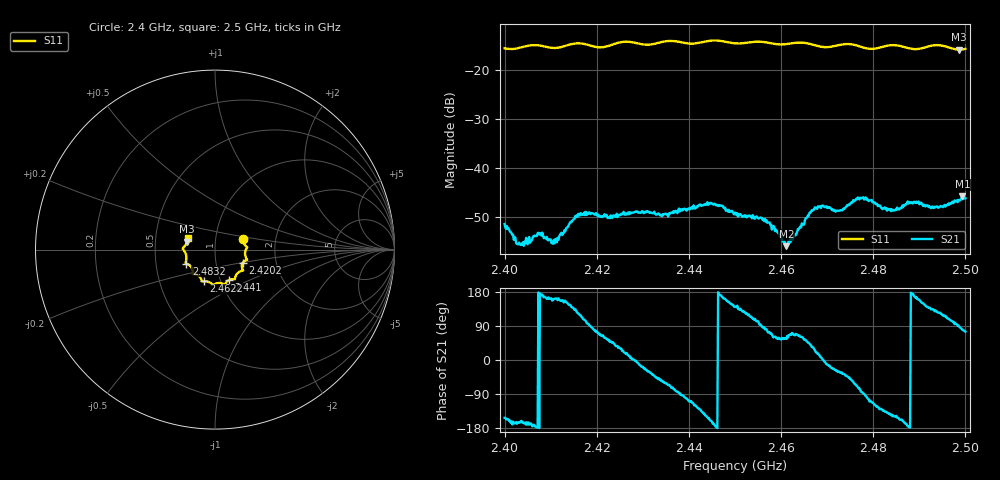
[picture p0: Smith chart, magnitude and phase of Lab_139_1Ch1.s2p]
# Hz S RI R 50
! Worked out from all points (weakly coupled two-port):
!   601 points, 2.4 GHz to 2.5 GHz, reference 50 ohm
!   highest |S21| = -45.80 dB at 2.4993 GHz (marker M1); lowest = -56.0 dB at 2.4612 GHz (marker M2)
!   lowest |S11| = -15.8 dB at 2.4987 GHz (marker M3), VSWR 1.39, Z = 36.4 + j3.33 ohm
!   |S11| at or under -10 dB: start of sweep to end of sweep
!   S12 and S22 are empty: the file has one direction only
!   S11 on the Smith chart (normalised r, x): 2.4 GHz: 1.36, +0.17; 2.4202 GHz: 1.35, -0.20; 2.441 GHz: 1.09, -0.39; 2.4622 GHz: 0.83, -0.30; 2.4832 GHz: 0.72, -0.12; 2.5 GHz: 0.73, +0.09
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2.4e9  0.1559 0.0601  -0.00238 -0.00123  0 0  0 0
2.403e9  0.1659 0.0262  -0.00161 -0.000403  0 0  0 0
2.407667e9  0.1782 0.01  -0.00216 0.000179  0 0  0 0
2.410833e9  0.1676 -0.0169  -0.00161 0.000541  0 0  0 0
2.416667e9  0.1778 -0.0582  -0.00137 0.00311  0 0  0 0
2.420167e9  0.1557 -0.0721  0.001 0.00308  0 0  0 0
2.433333e9  0.1131 -0.1525  0.00219 -0.00265  0 0  0 0
2.441e9  0.0766 -0.1703  -0.00175 -0.00377  0 0  0 0
2.445167e9  0.0539 -0.1934  -0.00418 -0.000881  0 0  0 0
2.45e9  0.0263 -0.1862  -0.00271 0.00223  0 0  0 0
2.457e9  -0.0184 -0.1906  0.000637 0.00268  0 0  0 0
2.461167e9  -0.0546 -0.1762  0.000895 0.00132  0 0  0 0
2.462167e9  -0.0634 -0.1767  0.000766 0.00175  0 0  0 0
2.466667e9  -0.0765 -0.1669  0.00307 0.00209  0 0  0 0
2.468667e9  -0.0853 -0.151  0.00387 0.000487  0 0  0 0
2.472833e9  -0.1201 -0.1362  0.00307 -0.00204  0 0  0 0
2.477333e9  -0.1248 -0.12  0.000536 -0.0049  0 0  0 0
2.483167e9  -0.1602 -0.0779  -0.00293 -0.00247  0 0  0 0
2.483333e9  -0.161 -0.0775  -0.00297 -0.00235  0 0  0 0
2.498667e9  -0.1555 0.0445  0.000179 0.00468  0 0  0 0
2.499333e9  -0.1535 0.0539  0.000917 0.00504  0 0  0 0
2.5e9  -0.1529 0.0632  0.00129 0.00474  0 0  0 0
